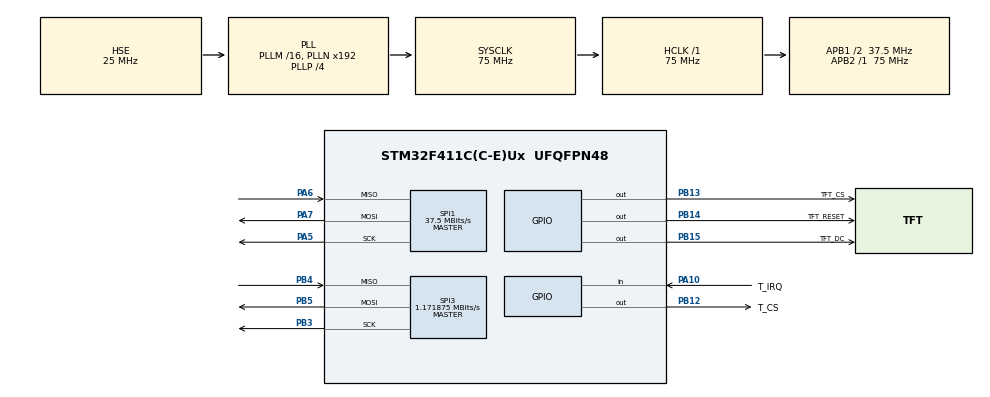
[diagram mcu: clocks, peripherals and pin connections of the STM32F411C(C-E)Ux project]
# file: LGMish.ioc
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Mcu.Family=STM32F4
RCC.PLLSourceVirtual=RCC_PLLSOURCE_HSE
PA6.Mode=Full_Duplex_Master
RCC.CortexFreq_Value=75000000
SPI3.Direction=SPI_DIRECTION_2LINES
SPI3.VirtualType=VM_MASTER
PA7.Mode=Full_Duplex_Master
SPI1.VirtualType=VM_MASTER
PA10.GPIO_PuPd=GPIO_PULLUP
PB14.GPIO_Label=TFT_RESET
PH1\ -\ OSC_OUT.Mode=HSE-External-Oscillator
RCC.APB1CLKDivider=RCC_HCLK_DIV2
PB13.GPIO_Label=TFT_CS
PB13.Signal=GPIO_Output
PB15.Signal=GPIO_Output
RCC.SYSCLKSource=RCC_SYSCLKSOURCE_PLLCLK
ProjectManager.StackSize=0x400
PA13.Signal=SYS_JTMS-SWDIO
PH0\ -\ OSC_IN.Mode=HSE-External-Oscillator
PH0\ -\ OSC_IN.Signal=RCC_OSC_IN
ProjectManager.TargetToolchain=STM32CubeIDE
SPI1.Direction=SPI_DIRECTION_2LINES
RCC.HCLKFreq_Value=75000000
RCC.APB2TimFreq_Value=75000000
SPI1.CalculateBaudRate=37.5 MBits/s
RCC.LSE_VALUE=32768
RCC.AHBFreq_Value=75000000
PB12.GPIO_Speed=GPIO_SPEED_FREQ_HIGH
PB14.Signal=GPIO_Output
PA5.Signal=SPI1_SCK
RCC.HSE_VALUE=25000000
PH1\ -\ OSC_OUT.Signal=RCC_OSC_OUT
PB3.Mode=Full_Duplex_Master
board=custom
RCC.VCOOutputFreq_Value=300000000
PB12.GPIO_Label=T_CS
RCC.APB2Freq_Value=75000000
SPI3.CalculateBaudRate=1.171875 MBits/s
PB4.Mode=Full_Duplex_Master
PB15.GPIO_Label=TFT_DC
VP_TIM2_VS_ClockSourceINT.Mode=Internal
SPI1.Mode=SPI_MODE_MASTER
PA14.Mode=Serial_Wire
PB5.Mode=Full_Duplex_Master
NVIC.TIM2_IRQn=true\:0\:0\:false\:false\:true\:true\:true
SPI3.BaudRatePrescaler=SPI_BAUDRATEPRESCALER_32
PA10.GPIO_Label=T_IRQ
TIM2.Period=1000
PA13.Mode=Serial_Wire
Mcu.Name=STM32F411C(C-E)Ux
RCC.48MHZClocksFreq_Value=75000000
PB3.Signal=SPI3_SCK
RCC.SYSCLKFreq_VALUE=75000000
Mcu.Package=UFQFPN48
PB5.Signal=SPI3_MOSI
TIM2.Prescaler=7200
PA6.Signal=SPI1_MISO
SPI3.Mode=SPI_MODE_MASTER
PA10.Signal=GPIO_Input
PA14.Signal=SYS_JTCK-SWCLK
ProjectManager.HeapSize=0x200
RCC.HSI_VALUE=16000000
RCC.PLLP=RCC_PLLP_DIV4
NVIC.PriorityGroup=NVIC_PRIORITYGROUP_4
RCC.APB1TimFreq_Value=75000000
PB12.GPIO_PuPd=GPIO_PULLUP
RCC.APB1Freq_Value=37500000
PB12.Signal=GPIO_Output
PB4.Signal=SPI3_MISO
PA7.Signal=SPI1_MOSI
PA5.Mode=Full_Duplex_Master

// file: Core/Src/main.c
/* USER CODE BEGIN Header */
/**
  ******************************************************************************
  * @file           : main.c
  * @brief          : Main program body
  ******************************************************************************
  * @attention
  *
  * <h2><center>&copy; Copyright (c) 2021 STMicroelectronics.
  * All rights reserved.</center></h2>
  *
  * This software component is licensed by ST under BSD 3-Clause license,
  * the "License"; You may not use this file except in compliance with the
  * License. You may obtain a copy of the License at:
  *                        opensource.org/licenses/BSD-3-Clause
  *
  ******************************************************************************
  */
/* USER CODE END Header */
#include "main.h"

/* USER CODE BEGIN Includes */
#include "ILI9341_GFX.h"
#include "fonts.h"
#include "XPT2046_touch.h"
#include "GUI.h"
#include "DIALOG.h"
#include "dialog.h"
/* USER CODE END Includes */

SPI_HandleTypeDef hspi1;
SPI_HandleTypeDef hspi3;
TIM_HandleTypeDef htim2;

/* USER CODE BEGIN PV */
GUI_PID_STATE pState;
int pStateIdle=1;
/* USER CODE END PV */

void SystemClock_Config(void);
static void MX_GPIO_Init(void);
static void MX_SPI1_Init(void);
static void MX_SPI3_Init(void);
static void MX_TIM2_Init(void);

int main(void)
{

  /* MCU Configuration--------------------------------------------------------*/

  /* Reset of all peripherals, Initializes the Flash interface and the Systick. */
  HAL_Init();
  /* Configure the system clock */
  SystemClock_Config();
  /* Initialize all configured peripherals */
  MX_GPIO_Init();
  MX_SPI1_Init();
  MX_SPI3_Init();
  MX_TIM2_Init();
  /* USER CODE BEGIN 2 */
  HAL_TIM_Base_Start_IT(&htim2);
  GUI_Init();
  WM_SetCallback(WM_HBKWIN, &_cbBkWindow);
  WM_SetCreateFlags(WM_CF_MEMDEV);
  /* USER CODE END 2 */
  /* Infinite loop */
  while (1)
  {
    /* USER CODE END WHILE */
	  GUI_ExecDialogBox(_aDialogCreate, GUI_COUNTOF(_aDialogCreate), &_cbCallback, 0, 0, 0);
	  GUI_Delay(300);
  }
}

void SystemClock_Config(void)
{
  RCC_OscInitTypeDef RCC_OscInitStruct = {0};
  RCC_ClkInitTypeDef RCC_ClkInitStruct = {0};

  /** Configure the main internal regulator output voltage
  */
  __HAL_RCC_PWR_CLK_ENABLE();
  __HAL_PWR_VOLTAGESCALING_CONFIG(PWR_REGULATOR_VOLTAGE_SCALE1);
  /** Initializes the RCC Oscillators according to the specified parameters
  * in the RCC_OscInitTypeDef structure.
  */
  RCC_OscInitStruct.OscillatorType = RCC_OSCILLATORTYPE_HSE;
  RCC_OscInitStruct.HSEState = RCC_HSE_ON;
  RCC_OscInitStruct.PLL.PLLState = RCC_PLL_ON;
  RCC_OscInitStruct.PLL.PLLSource = RCC_PLLSOURCE_HSE;
  RCC_OscInitStruct.PLL.PLLM = 16;
  RCC_OscInitStruct.PLL.PLLN = 192;
  RCC_OscInitStruct.PLL.PLLP = RCC_PLLP_DIV4;
  RCC_OscInitStruct.PLL.PLLQ = 4;
  if (HAL_RCC_OscConfig(&RCC_OscInitStruct) != HAL_OK)
  {
    Error_Handler();
  }
  /** Initializes the CPU, AHB and APB buses clocks
  */
  RCC_ClkInitStruct.ClockType = RCC_CLOCKTYPE_HCLK|RCC_CLOCKTYPE_SYSCLK
                              |RCC_CLOCKTYPE_PCLK1|RCC_CLOCKTYPE_PCLK2;
  RCC_ClkInitStruct.SYSCLKSource = RCC_SYSCLKSOURCE_PLLCLK;
  RCC_ClkInitStruct.AHBCLKDivider = RCC_SYSCLK_DIV1;
  RCC_ClkInitStruct.APB1CLKDivider = RCC_HCLK_DIV2;
  RCC_ClkInitStruct.APB2CLKDivider = RCC_HCLK_DIV1;

  if (HAL_RCC_ClockConfig(&RCC_ClkInitStruct, FLASH_LATENCY_2) != HAL_OK)
  {
    Error_Handler();
  }
}

static void MX_SPI1_Init(void)
{

  /* SPI1 parameter configuration*/
  hspi1.Instance = SPI1;
  hspi1.Init.Mode = SPI_MODE_MASTER;
  hspi1.Init.Direction = SPI_DIRECTION_2LINES;
  hspi1.Init.DataSize = SPI_DATASIZE_8BIT;
  hspi1.Init.CLKPolarity = SPI_POLARITY_LOW;
  hspi1.Init.CLKPhase = SPI_PHASE_1EDGE;
  hspi1.Init.NSS = SPI_NSS_SOFT;
  hspi1.Init.BaudRatePrescaler = SPI_BAUDRATEPRESCALER_2;
  hspi1.Init.FirstBit = SPI_FIRSTBIT_MSB;
  hspi1.Init.TIMode = SPI_TIMODE_DISABLE;
  hspi1.Init.CRCCalculation = SPI_CRCCALCULATION_DISABLE;
  hspi1.Init.CRCPolynomial = 10;
  if (HAL_SPI_Init(&hspi1) != HAL_OK)
  {
    Error_Handler();
  }

}

static void MX_SPI3_Init(void)
{

  /* SPI3 parameter configuration*/
  hspi3.Instance = SPI3;
  hspi3.Init.Mode = SPI_MODE_MASTER;
  hspi3.Init.Direction = SPI_DIRECTION_2LINES;
  hspi3.Init.DataSize = SPI_DATASIZE_8BIT;
  hspi3.Init.CLKPolarity = SPI_POLARITY_LOW;
  hspi3.Init.CLKPhase = SPI_PHASE_1EDGE;
  hspi3.Init.NSS = SPI_NSS_SOFT;
  hspi3.Init.BaudRatePrescaler = SPI_BAUDRATEPRESCALER_32;
  hspi3.Init.FirstBit = SPI_FIRSTBIT_MSB;
  hspi3.Init.TIMode = SPI_TIMODE_DISABLE;
  hspi3.Init.CRCCalculation = SPI_CRCCALCULATION_DISABLE;
  hspi3.Init.CRCPolynomial = 10;
  if (HAL_SPI_Init(&hspi3) != HAL_OK)
  {
    Error_Handler();
  }

}

static void MX_TIM2_Init(void)
{

  TIM_ClockConfigTypeDef sClockSourceConfig = {0};
  TIM_MasterConfigTypeDef sMasterConfig = {0};

  htim2.Instance = TIM2;
  htim2.Init.Prescaler = 7200;
  htim2.Init.CounterMode = TIM_COUNTERMODE_UP;
  htim2.Init.Period = 1000;
  htim2.Init.ClockDivision = TIM_CLOCKDIVISION_DIV1;
  htim2.Init.AutoReloadPreload = TIM_AUTORELOAD_PRELOAD_DISABLE;
  if (HAL_TIM_Base_Init(&htim2) != HAL_OK)
  {
    Error_Handler();
  }
  sClockSourceConfig.ClockSource = TIM_CLOCKSOURCE_INTERNAL;
  if (HAL_TIM_ConfigClockSource(&htim2, &sClockSourceConfig) != HAL_OK)
  {
    Error_Handler();
  }
  sMasterConfig.MasterOutputTrigger = TIM_TRGO_RESET;
  sMasterConfig.MasterSlaveMode = TIM_MASTERSLAVEMODE_DISABLE;
  if (HAL_TIMEx_MasterConfigSynchronization(&htim2, &sMasterConfig) != HAL_OK)
  {
    Error_Handler();
  }

}

static void MX_GPIO_Init(void)
{
  GPIO_InitTypeDef GPIO_InitStruct = {0};

  /* GPIO Ports Clock Enable */
  __HAL_RCC_GPIOH_CLK_ENABLE();
  __HAL_RCC_GPIOA_CLK_ENABLE();
  __HAL_RCC_GPIOB_CLK_ENABLE();

  /*Configure GPIO pin Output Level */
  HAL_GPIO_WritePin(GPIOB, T_CS_Pin|TFT_CS_Pin|TFT_RESET_Pin|TFT_DC_Pin, GPIO_PIN_RESET);

  /*Configure GPIO pin : T_CS_Pin */
  GPIO_InitStruct.Pin = T_CS_Pin;
  GPIO_InitStruct.Mode = GPIO_MODE_OUTPUT_PP;
  GPIO_InitStruct.Pull = GPIO_PULLUP;
  GPIO_InitStruct.Speed = GPIO_SPEED_FREQ_HIGH;
  HAL_GPIO_Init(T_CS_GPIO_Port, &GPIO_InitStruct);

  /*Configure GPIO pins : TFT_CS_Pin TFT_RESET_Pin TFT_DC_Pin */
  GPIO_InitStruct.Pin = TFT_CS_Pin|TFT_RESET_Pin|TFT_DC_Pin;
  GPIO_InitStruct.Mode = GPIO_MODE_OUTPUT_PP;
  GPIO_InitStruct.Pull = GPIO_NOPULL;
  GPIO_InitStruct.Speed = GPIO_SPEED_FREQ_LOW;
  HAL_GPIO_Init(GPIOB, &GPIO_InitStruct);

  /*Configure GPIO pin : T_IRQ_Pin */
  GPIO_InitStruct.Pin = T_IRQ_Pin;
  GPIO_InitStruct.Mode = GPIO_MODE_INPUT;
  GPIO_InitStruct.Pull = GPIO_PULLUP;
  HAL_GPIO_Init(T_IRQ_GPIO_Port, &GPIO_InitStruct);

}

/* USER CODE BEGIN 4 */
void HAL_TIM_PeriodElapsedCallback(TIM_HandleTypeDef *htim)
{
 if(htim->Instance == TIM2)
 {
  HAL_TIM_Base_Stop_IT(&htim2);
  if(XPT2046_TouchPressed()) {
   uint16_t x = 0, y = 0;
   if(XPT2046_TouchGetCoordinates(&x, &y))
   {
	   x=240-x; y=320-y; pStateIdle=1;
	   pState.x = y; pState.y = x;
	   pState.Pressed = 1;
	   GUI_TOUCH_StoreStateEx(&pState);
   }
   } else
	     if (pStateIdle!=0){
	     pState.Pressed=0;
	     GUI_TOUCH_StoreStateEx(&pState);
	     pStateIdle=0;
	     }
   }
  HAL_TIM_Base_Start_IT(&htim2);
}
/* USER CODE END 4 */

void Error_Handler(void)
{
  __disable_irq();
  while (1)
  {
  }
}

/************************ (C) COPYRIGHT STMicroelectronics *****END OF FILE****/
